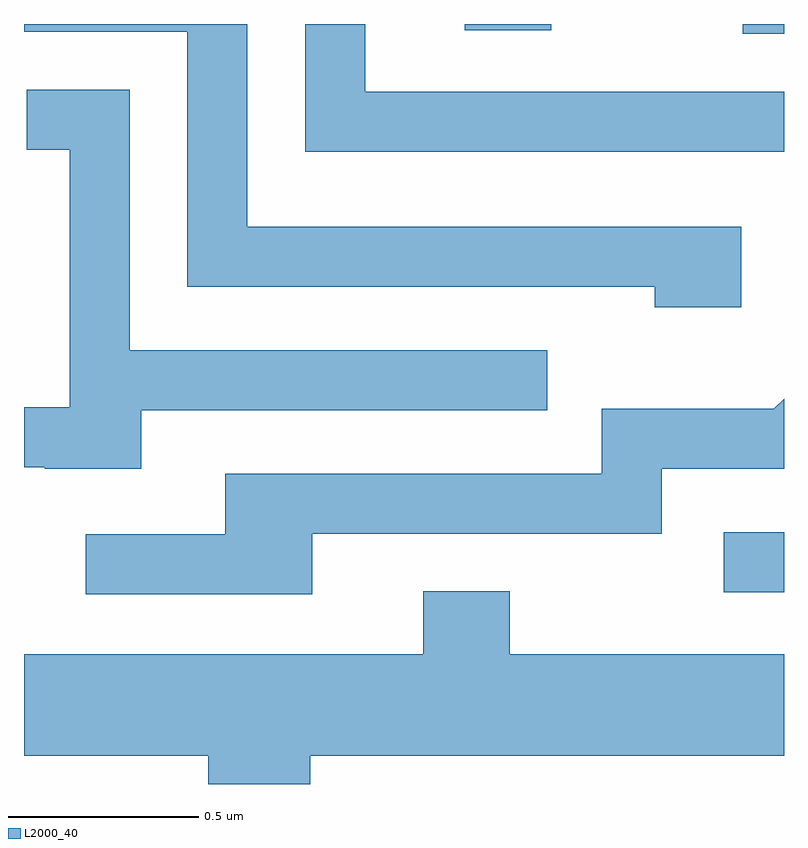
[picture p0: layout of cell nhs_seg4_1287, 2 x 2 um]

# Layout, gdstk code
import gdstk
lib = gdstk.Library(unit=1e-6, precision=1e-09)
def R(c, l, rs):  # rectangles x0, y0, x1, y1
    for r in rs: c.add(gdstk.rectangle(r[:2], r[2:], *l))
def P(c, l, *ps):  # polygons
    for p in ps: c.add(gdstk.Polygon(p, *l))
L2000_40 = (2000, 40)

nhs_seg4_1287 = lib.new_cell('nhs_seg4_1287')
R(nhs_seg4_1287, L2000_40, [(196.453,1308.486,196.611,1308.644), (196.503,1309.956,196.611,1309.982), (195.771,1309.966,195.999,1309.982)])
P(nhs_seg4_1287, L2000_40, [(196.499,1309.449),(195.199,1309.449),(195.199,1309.982),(194.611,1309.982),(194.611,1309.961),(195.041,1309.961),(195.041,1309.291),(196.271,1309.291),(196.271,1309.236),(196.499,1309.236)],
  [(196.611,1309.804),(195.509,1309.804),(195.509,1309.982),(195.351,1309.982),(195.351,1309.646),(196.611,1309.646)],
  [(194.919,1308.966),(195.988,1308.966),(195.988,1309.124),(194.889,1309.124),(194.889,1309.809),(194.618,1309.809),(194.618,1309.651),(194.731,1309.651),(194.731,1308.974),(194.611,1308.974),(194.611,1308.816),(194.665,1308.816),(194.665,1308.811),(194.919,1308.811)],
  [(195.369,1308.641),(196.289,1308.641),(196.289,1308.811),(196.611,1308.811),(196.611,1308.996),(196.584,1308.969),(196.131,1308.969),(196.131,1308.799),(195.141,1308.799),(195.141,1308.639),(194.773,1308.639),(194.773,1308.481),(195.369,1308.481)],
  [(195.364,1308.056),(196.611,1308.056),(196.611,1308.324),(195.889,1308.324),(195.889,1308.489),(195.661,1308.489),(195.661,1308.324),(194.611,1308.324),(194.611,1308.056),(195.096,1308.056),(195.096,1307.982),(195.364,1307.982)])

lib.write_gds('nhs_seg4_1287.gds')
